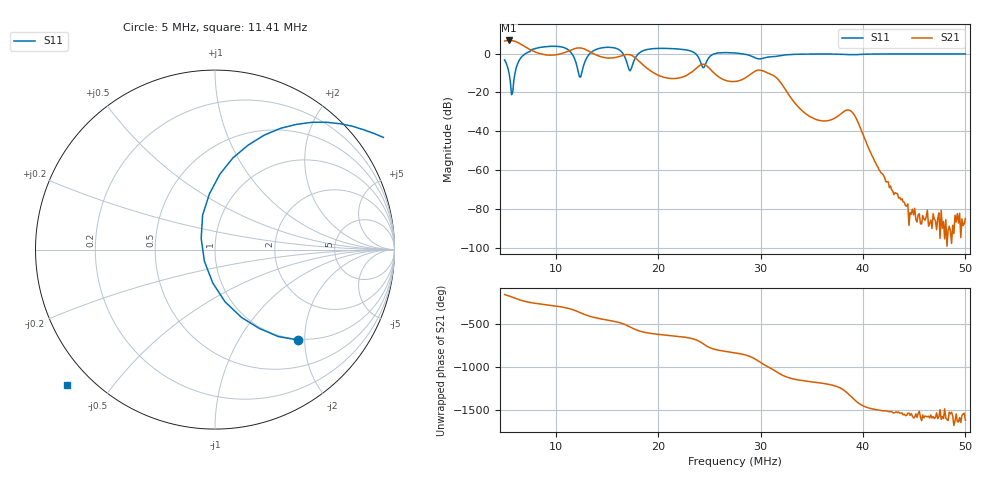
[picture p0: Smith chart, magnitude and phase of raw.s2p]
! S11/S21 only; reverse parameters are placeholders. Device calibration unverified.
! NanoVNA F V2 profile | COM3 | 2026-09-08T12:15:02.5894542-04:00 | device calibration unverified
# HZ S RI R 50
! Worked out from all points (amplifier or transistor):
!   401 points, 5 MHz to 50 MHz, reference 50 ohm
!   highest |S21| = 6.7 dB at 5.45 MHz (marker M1)
!   |S21| within 3 dB of that: start of sweep to 6.927 MHz
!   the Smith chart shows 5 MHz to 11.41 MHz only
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5000000  0.461 -0.5031  -1.886 -0.9324  0 0  0 0
5450000  0.0557 -0.2907  -2.144 -0.3252  0 0  0 0
6350000  0.1836 0.5814  -1.609 0.9785  0 0  0 0
7250000  0.8292 0.6672  -0.6706 1.19  0 0  0 0
7812500  0.603 -1.155  -0.3382 1.095  0 0  0 0
9950000  -0.1628 -1.527  0.2706 0.8813  0 0  0 0
1.1525e7  -0.8287 -0.6146  1.032 0.6945  0 0  0 0
1.25375e7  0.212 0.2461  1.333 -0.3222  0 0  0 0
1.3775e7  1.057 -0.5979  0.4434 -0.8528  0 0  0 0
1.56875e7  0.3971 -1.346  -0.2229 -0.7481  0 0  0 0
1.715e7  -0.3651 0.1213  -0.9151 -0.2164  0 0  0 0
1.83875e7  1.119 0.1945  -0.3712 0.4044  0 0  0 0
2.0075e7  1.279 -0.4485  -0.0471 0.267  0 0  0 0
2.4125e7  0.3164 -0.5266  0.4976 0.0991  0 0  0 0
2.48e7  0.6758 -0.051  0.3534 -0.3064  0 0  0 0
2.75e7  0.894 -0.5134  -0.0817 -0.1725  0 0  0 0
3.09875e7  0.7174 -0.3963  0.1309 0.2614  0 0  0 0
3.50375e7  0.7036 -0.6656  -0.00205 -0.0221  0 0  0 0
3.88625e7  0.5413 -0.7598  -0.000699 0.0324  0 0  0 0
4.2575e7  0.4414 -0.8693  3.1e-05 -0.000354  0 0  0 0
4.47125e7  0.3611 -0.9072  -2e-05 -7.1e-05  0 0  0 0
5e7  0.159 -0.9637  -5.7e-05 3e-06  0 0  0 0
